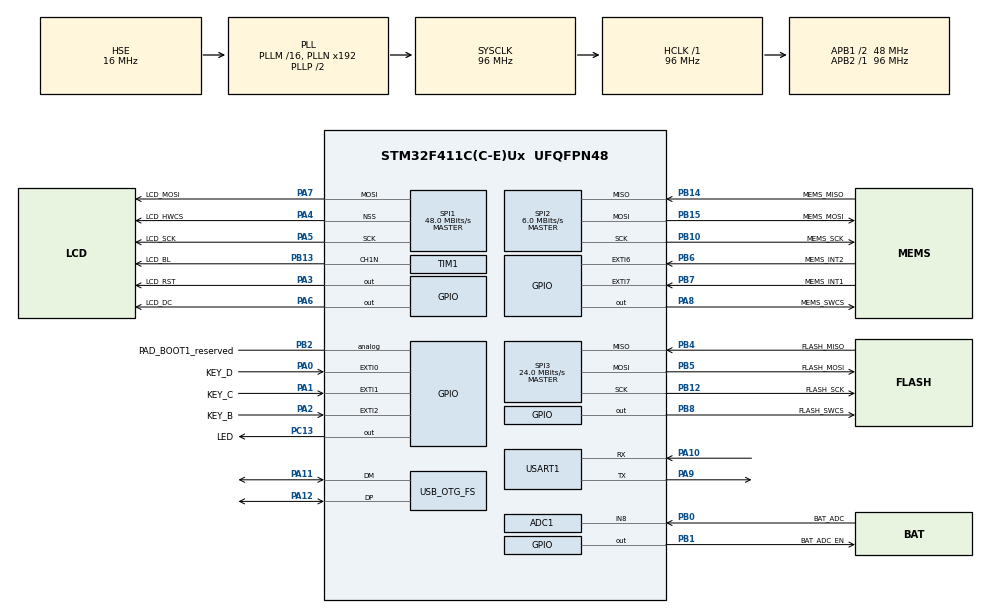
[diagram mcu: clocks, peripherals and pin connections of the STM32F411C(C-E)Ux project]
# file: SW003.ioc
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ADC1.Channel-4\#ChannelRegularConversion=ADC_CHANNEL_VREFINT
ADC1.NbrOfConversionFlag=1
ADC1.Rank-4\#ChannelRegularConversion=1
ADC1.SamplingTime-4\#ChannelRegularConversion=ADC_SAMPLETIME_3CYCLES
ADC1.master=1
Dma.Request0=USART1_TX
Dma.Request1=USART1_RX
Dma.Request2=SPI1_TX
Dma.Request3=SPI2_RX
Dma.Request4=SPI2_TX
Dma.Request5=SPI3_RX
Dma.Request6=SPI3_TX
Dma.SPI1_TX.2.Direction=DMA_MEMORY_TO_PERIPH
Dma.SPI1_TX.2.FIFOMode=DMA_FIFOMODE_DISABLE
Dma.SPI1_TX.2.Instance=DMA2_Stream2
Dma.SPI1_TX.2.MemDataAlignment=DMA_MDATAALIGN_BYTE
Dma.SPI1_TX.2.MemInc=DMA_MINC_ENABLE
Dma.SPI1_TX.2.Mode=DMA_NORMAL
Dma.SPI1_TX.2.PeriphDataAlignment=DMA_PDATAALIGN_BYTE
Dma.SPI1_TX.2.PeriphInc=DMA_PINC_DISABLE
Dma.SPI1_TX.2.Priority=DMA_PRIORITY_LOW
Dma.SPI2_RX.3.Direction=DMA_PERIPH_TO_MEMORY
Dma.SPI2_RX.3.FIFOMode=DMA_FIFOMODE_DISABLE
Dma.SPI2_RX.3.Instance=DMA1_Stream3
Dma.SPI2_RX.3.MemDataAlignment=DMA_MDATAALIGN_BYTE
Dma.SPI2_RX.3.MemInc=DMA_MINC_ENABLE
Dma.SPI2_RX.3.Mode=DMA_NORMAL
Dma.SPI2_RX.3.PeriphDataAlignment=DMA_PDATAALIGN_BYTE
Dma.SPI2_RX.3.PeriphInc=DMA_PINC_DISABLE
Dma.SPI2_RX.3.Priority=DMA_PRIORITY_LOW
Dma.SPI2_TX.4.Direction=DMA_MEMORY_TO_PERIPH
Dma.SPI2_TX.4.FIFOMode=DMA_FIFOMODE_DISABLE
Dma.SPI2_TX.4.Instance=DMA1_Stream4
Dma.SPI2_TX.4.MemDataAlignment=DMA_MDATAALIGN_BYTE
Dma.SPI2_TX.4.MemInc=DMA_MINC_ENABLE
Dma.SPI2_TX.4.Mode=DMA_NORMAL
Dma.SPI2_TX.4.PeriphDataAlignment=DMA_PDATAALIGN_BYTE
Dma.SPI2_TX.4.PeriphInc=DMA_PINC_DISABLE
Dma.SPI2_TX.4.Priority=DMA_PRIORITY_LOW
Dma.SPI3_RX.5.Direction=DMA_PERIPH_TO_MEMORY
Dma.SPI3_RX.5.FIFOMode=DMA_FIFOMODE_DISABLE
Dma.SPI3_RX.5.Instance=DMA1_Stream0
Dma.SPI3_RX.5.MemDataAlignment=DMA_MDATAALIGN_BYTE
Dma.SPI3_RX.5.MemInc=DMA_MINC_ENABLE
Dma.SPI3_RX.5.Mode=DMA_NORMAL
Dma.SPI3_RX.5.PeriphDataAlignment=DMA_PDATAALIGN_BYTE
Dma.SPI3_RX.5.PeriphInc=DMA_PINC_DISABLE
Dma.SPI3_RX.5.Priority=DMA_PRIORITY_LOW
Dma.SPI3_TX.6.Direction=DMA_MEMORY_TO_PERIPH
Dma.SPI3_TX.6.FIFOMode=DMA_FIFOMODE_DISABLE
Dma.SPI3_TX.6.Instance=DMA1_Stream5
Dma.SPI3_TX.6.MemDataAlignment=DMA_MDATAALIGN_BYTE
Dma.SPI3_TX.6.MemInc=DMA_MINC_ENABLE
Dma.SPI3_TX.6.Mode=DMA_NORMAL
Dma.SPI3_TX.6.PeriphDataAlignment=DMA_PDATAALIGN_BYTE
Dma.SPI3_TX.6.PeriphInc=DMA_PINC_DISABLE
Dma.SPI3_TX.6.Priority=DMA_PRIORITY_LOW
Dma.USART1_RX.1.Direction=DMA_PERIPH_TO_MEMORY
Dma.USART1_RX.1.FIFOMode=DMA_FIFOMODE_DISABLE
Dma.USART1_RX.1.Instance=DMA2_Stream5
Dma.USART1_RX.1.MemDataAlignment=DMA_MDATAALIGN_BYTE
Dma.USART1_RX.1.MemInc=DMA_MINC_ENABLE
Dma.USART1_RX.1.Mode=DMA_NORMAL
Dma.USART1_RX.1.PeriphDataAlignment=DMA_PDATAALIGN_BYTE
Dma.USART1_RX.1.PeriphInc=DMA_PINC_DISABLE
Dma.USART1_RX.1.Priority=DMA_PRIORITY_LOW
Dma.USART1_TX.0.Direction=DMA_MEMORY_TO_PERIPH
Dma.USART1_TX.0.FIFOMode=DMA_FIFOMODE_DISABLE
Dma.USART1_TX.0.Instance=DMA2_Stream7
Dma.USART1_TX.0.MemDataAlignment=DMA_MDATAALIGN_BYTE
Dma.USART1_TX.0.MemInc=DMA_MINC_ENABLE
Dma.USART1_TX.0.Mode=DMA_NORMAL
Dma.USART1_TX.0.PeriphDataAlignment=DMA_PDATAALIGN_BYTE
Dma.USART1_TX.0.PeriphInc=DMA_PINC_DISABLE
Dma.USART1_TX.0.Priority=DMA_PRIORITY_LOW
FATFS._CODE_PAGE=850
FATFS._FS_EXFAT=0
FATFS._FS_REENTRANT=0
FATFS._MAX_SS=4096
FATFS._MIN_SS=4096
FATFS._USE_LFN=1
FREERTOS.CountingSemaphores01=Sem_button_scan,2,Dynamic,NULL,0;pclk_Sem,6,Dynamic,NULL,6
FREERTOS.HEAP_NUMBER=4
FREERTOS.Queues01=swEventQueue,5,int64_t,0,Dynamic,NULL,NULL;memsEventQueue,5,int64_t,0,Dynamic,NULL,NULL;panelEventQueue,5,int64_t,0,Dynamic,NULL,NULL;cmdEventQueue,5,int64_t,0,Dynamic,NULL,NULL;keyboardEventQueue,5,int64_t,0,Dynamic,NULL,NULL
FREERTOS.Tasks01=defaultTask,24,512,StartDefaultTask,Default,NULL,Dynamic,NULL,NULL;cmdTask,24,512,StartCmdTask,Default,NULL,Dynamic,NULL,NULL;PanelTask,16,1024,StartPanelTask,Default,NULL,Dynamic,NULL,NULL;MEMSTask,32,512,StartMEMSTask,Default,NULL,Dynamic,NULL,NULL;keyboardTask,16,512,StartKeyboardTask,Default,NULL,Dynamic,NULL,NULL
FREERTOS.Timers01=TimeoutTimer,TimeoutTimerCallback,osTimerPeriodic,Default,NULL,Dynamic,NULL
FREERTOS.configCHECK_FOR_STACK_OVERFLOW=1
FREERTOS.configENABLE_FPU=1
FREERTOS.configGENERATE_RUN_TIME_STATS=1
FREERTOS.configTOTAL_HEAP_SIZE=0x10000
FREERTOS.configUSE_IDLE_HOOK=0
FREERTOS.configUSE_NEWLIB_REENTRANT=1
FREERTOS.configUSE_STATS_FORMATTING_FUNCTIONS=1
FREERTOS.configUSE_TICKLESS_IDLE=2
FREERTOS.configUSE_TICK_HOOK=1
IWDG.Prescaler=IWDG_PRESCALER_256
IWDG.Reload=255
Mcu.Family=STM32F4
Mcu.Name=STM32F411C(C-E)Ux
Mcu.Package=UFQFPN48
Mcu.UserConstants=TIM10_1s_per_Tick,2000;BufSize_Serial,256;PCLK2_M,(HAL_RCC_GetPCLK2Freq() / 1000000u);PCLK1_M,(HAL_RCC_GetPCLK1Freq() / 1000000u);HCLK_M,(HAL_RCC_GetHCLKFreq() / 1000000u)
NVIC.DMA1_Stream0_IRQn=true\:1\:0\:true\:false\:true\:false\:false\:true\:true
NVIC.DMA1_Stream3_IRQn=true\:1\:0\:true\:false\:true\:false\:false\:true\:true
NVIC.DMA1_Stream4_IRQn=true\:1\:0\:true\:false\:true\:false\:false\:true\:true
NVIC.DMA1_Stream5_IRQn=true\:1\:0\:true\:false\:true\:false\:false\:true\:true
NVIC.DMA2_Stream2_IRQn=true\:1\:0\:true\:false\:true\:false\:false\:true\:true
NVIC.DMA2_Stream5_IRQn=true\:1\:0\:true\:false\:true\:false\:false\:true\:true
NVIC.DMA2_Stream7_IRQn=true\:1\:0\:true\:false\:true\:false\:false\:true\:true
NVIC.EXTI0_IRQn=true\:6\:0\:true\:false\:true\:false\:true\:true\:true
NVIC.EXTI1_IRQn=true\:6\:0\:true\:false\:true\:false\:true\:true\:true
NVIC.EXTI2_IRQn=true\:6\:0\:true\:false\:true\:false\:true\:true\:true
NVIC.EXTI9_5_IRQn=true\:2\:0\:true\:false\:true\:false\:true\:true\:true
NVIC.OTG_FS_IRQn=true\:7\:0\:true\:false\:true\:false\:false\:true\:true
NVIC.PriorityGroup=NVIC_PRIORITYGROUP_4
NVIC.RTC_WKUP_IRQn=true\:1\:0\:true\:false\:true\:false\:true\:true\:true
NVIC.SPI1_IRQn=true\:3\:0\:true\:false\:true\:false\:true\:true\:true
NVIC.SPI2_IRQn=true\:3\:0\:true\:false\:true\:false\:true\:true\:true
NVIC.SPI3_IRQn=true\:3\:0\:true\:false\:true\:false\:true\:true\:true
NVIC.TIM1_BRK_TIM9_IRQn=true\:14\:0\:true\:false\:true\:false\:true\:true\:true
NVIC.TIM1_TRG_COM_TIM11_IRQn=true\:0\:0\:true\:false\:true\:false\:false\:true\:true
NVIC.TIM1_UP_TIM10_IRQn=true\:7\:0\:true\:false\:true\:true\:true\:true\:true
NVIC.TimeBase=TIM1_TRG_COM_TIM11_IRQn
NVIC.TimeBaseIP=TIM11
NVIC.USART1_IRQn=true\:3\:0\:true\:false\:true\:false\:true\:true\:true
PA0-WKUP.GPIO_Label=KEY_D
PA0-WKUP.GPIO_ModeDefaultEXTI=GPIO_MODE_IT_FALLING
PA0-WKUP.GPIO_PuPd=GPIO_PULLUP
PA0-WKUP.Signal=GPXTI0
PA1.GPIO_Label=KEY_C
PA1.GPIO_ModeDefaultEXTI=GPIO_MODE_IT_FALLING
PA1.GPIO_PuPd=GPIO_PULLUP
PA1.Signal=GPXTI1
PA10.Mode=Asynchronous
PA10.Signal=USART1_RX
PA11.Mode=Device_Only
PA11.Signal=USB_OTG_FS_DM
PA12.Mode=Device_Only
PA12.Signal=USB_OTG_FS_DP
PA13.Mode=Serial_Wire
PA13.Signal=SYS_JTMS-SWDIO
PA14.Mode=Serial_Wire
PA14.Signal=SYS_JTCK-SWCLK
PA15.Signal=SYS_JTDI
PA2.GPIO_Label=KEY_B
PA2.GPIO_ModeDefaultEXTI=GPIO_MODE_IT_FALLING
PA2.GPIO_PuPd=GPIO_PULLUP
PA2.Signal=GPXTI2
PA3.GPIO_Label=LCD_RST
PA3.Signal=GPIO_Output
PA4.GPIO_Label=LCD_HWCS
PA4.Mode=NSS_Signal_Hard_Output
PA4.Signal=SPI1_NSS
PA5.GPIO_Label=LCD_SCK
PA5.Mode=TX_Only_Simplex_Unidirect_Master
PA5.Signal=SPI1_SCK
PA6.GPIO_Label=LCD_DC
PA6.GPIO_Speed=GPIO_SPEED_FREQ_VERY_HIGH
PA6.Signal=GPIO_Output
PA7.GPIO_Label=LCD_MOSI
PA7.Mode=TX_Only_Simplex_Unidirect_Master
PA7.Signal=SPI1_MOSI
PA8.GPIO_Label=MEMS_SWCS
PA8.GPIO_Speed=GPIO_SPEED_FREQ_VERY_HIGH
PA8.PinState=GPIO_PIN_SET
PA8.Signal=GPIO_Output
PA9.Mode=Asynchronous
PA9.Signal=USART1_TX
PB0.GPIO_Label=BAT_ADC
PB0.Signal=ADCx_IN8
PB1.GPIO_Label=BAT_ADC_EN
PB1.Signal=GPIO_Output
PB10.GPIO_Label=MEMS_SCK
PB10.Mode=Full_Duplex_Master
PB10.Signal=SPI2_SCK
PB12.GPIO_Label=FLASH_SCK
PB12.Mode=Full_Duplex_Master
PB12.Signal=SPI3_SCK
PB13.GPIO_Label=LCD_BL
PB13.GPIO_Speed=GPIO_SPEED_FREQ_VERY_HIGH
PB13.Mode=PWM Generation1 CH1N
PB13.Signal=TIM1_CH1N
PB14.GPIO_Label=MEMS_MISO
PB14.Mode=Full_Duplex_Master
PB14.Signal=SPI2_MISO
PB15.GPIO_Label=MEMS_MOSI
PB15.Mode=Full_Duplex_Master
PB15.Signal=SPI2_MOSI
PB2.GPIO_Label=PAD_BOOT1_reserved
PB2.Signal=GPIO_Analog
PB3.Signal=SYS_JTDO-SWO
PB4.GPIO_Label=FLASH_MISO
PB4.Mode=Full_Duplex_Master
PB4.Signal=SPI3_MISO
PB5.GPIO_Label=FLASH_MOSI
PB5.Mode=Full_Duplex_Master
PB5.Signal=SPI3_MOSI
PB6.GPIO_Label=MEMS_INT2
PB6.GPIO_ModeDefaultEXTI=GPIO_MODE_IT_RISING
PB6.Signal=GPXTI6
PB7.GPIO_Label=MEMS_INT1
PB7.Signal=GPXTI7
PB8.GPIO_Label=FLASH_SWCS
PB8.GPIO_Speed=GPIO_SPEED_FREQ_VERY_HIGH
PB8.PinState=GPIO_PIN_SET
PB8.Signal=GPIO_Output
PC13-ANTI_TAMP.GPIO_Label=LED
PC13-ANTI_TAMP.PinState=GPIO_PIN_SET
PC13-ANTI_TAMP.Signal=GPIO_Output
PH0\ -\ OSC_IN.Mode=HSE-External-Oscillator
PH0\ -\ OSC_IN.Signal=RCC_OSC_IN
PH1\ -\ OSC_OUT.Mode=HSE-External-Oscillator
PH1\ -\ OSC_OUT.Signal=RCC_OSC_OUT
ProjectManager.HeapSize=0x0
ProjectManager.StackSize=0x2000
ProjectManager.TargetToolchain=STM32CubeIDE
RCC.48MHZClocksFreq_Value=48000000
RCC.AHBFreq_Value=96000000
RCC.APB1CLKDivider=RCC_HCLK_DIV2
RCC.APB1Freq_Value=48000000
RCC.APB1TimFreq_Value=96000000
RCC.APB2Freq_Value=96000000
RCC.APB2TimFreq_Value=96000000
RCC.CortexFreq_Value=96000000
RCC.HCLKFreq_Value=96000000
RCC.HSE_VALUE=16000000
RCC.HSI_VALUE=16000000
RCC.LSE_VALUE=32768
RCC.RCC_RTC_Clock_Source=RCC_RTCCLKSOURCE_HSE_DIV16
RCC.RCC_RTC_Clock_SourceVirtual=RCC_RTCCLKSOURCE_LSE
RCC.RCC_RTC_Clock_Source_FROM_HSE=RCC_RTCCLKSOURCE_HSE_DIV16
RCC.SYSCLKFreq_VALUE=96000000
RCC.SYSCLKSource=RCC_SYSCLKSOURCE_PLLCLK
RCC.VCOOutputFreq_Value=192000000
RTC.AsynchPrediv=(100-1)
RTC.Format=RTC_FORMAT_BCD
RTC.HourFormat=RTC_HOURFORMAT_12
RTC.Hours=3
RTC.Minutes=30
RTC.Seconds=45
RTC.StoreOperation=RTC_STOREOPERATION_RESET
RTC.SynchPrediv=(10000-1)
RTC.WakeUpCounter=65535
RTC.Year=24
SH.ADCx_IN8.0=ADC1_IN8,IN8
SPI1.BaudRatePrescaler=SPI_BAUDRATEPRESCALER_2
SPI1.CalculateBaudRate=48.0 MBits/s
SPI1.DataSize=SPI_DATASIZE_8BIT
SPI1.Direction=SPI_DIRECTION_2LINES
SPI1.Mode=SPI_MODE_MASTER
SPI1.VirtualNSS=VM_NSSHARD
SPI1.VirtualType=VM_MASTER
SPI2.BaudRatePrescaler=SPI_BAUDRATEPRESCALER_8
SPI2.CalculateBaudRate=6.0 MBits/s
SPI2.Direction=SPI_DIRECTION_2LINES
SPI2.Mode=SPI_MODE_MASTER
SPI2.VirtualType=VM_MASTER
SPI3.BaudRatePrescaler=SPI_BAUDRATEPRESCALER_2
SPI3.CalculateBaudRate=24.0 MBits/s
SPI3.Direction=SPI_DIRECTION_2LINES
SPI3.Mode=SPI_MODE_MASTER
SPI3.VirtualType=VM_MASTER
TIM1.Channel-PWM\ Generation1\ CH1N=TIM_CHANNEL_1
TIM1.OCNPolarity_1=TIM_OCNPOLARITY_HIGH
TIM1.Period=100-1
TIM1.Prescaler=(PCLK2_M*10)-1
USART1.VirtualMode=VM_ASYNC
USB_DEVICE.CLASS_NAME_FS=MSC
USB_DEVICE.MSC_MEDIA_PACKET=4096
USB_DEVICE.USBD_MAX_STR_DESC_SIZ=512
USB_DEVICE.VirtualMode=Msc
USB_DEVICE.VirtualModeFS=Msc_FS
USB_OTG_FS.VirtualMode=Device_Only
USB_OTG_FS.low_power_enable=DISABLE
VP_ADC1_Vref_Input.Mode=IN-Vrefint
VP_FATFS_VS_Generic.Mode=User_defined
VP_FREERTOS_VS_CMSIS_V2.Mode=CMSIS_V2
VP_IWDG_VS_IWDG.Mode=IWDG_Activate
VP_RTC_VS_RTC_Activate.Mode=RTC_Enabled
VP_RTC_VS_RTC_Calendar.Mode=RTC_Calendar
VP_RTC_VS_RTC_WakeUp_intern.Mode=WakeUp
VP_SYS_VS_tim11.Mode=TIM11
VP_USB_DEVICE_VS_USB_DEVICE_MSC_FS.Mode=MSC_FS
board=custom

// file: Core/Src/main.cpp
/* USER CODE BEGIN Header */
/**
  ******************************************************************************
  * @file           : main.c
  * @brief          : Main program body
  ******************************************************************************
  * @attention
  *
  * Copyright (c) 2025 STMicroelectronics.
  * All rights reserved.
  *
  * This software is licensed under terms that can be found in the LICENSE file
  * in the root directory of this software component.
  * If no LICENSE file comes with this software, it is provided AS-IS.
  *
  ******************************************************************************
  */
/* USER CODE END Header */
#include "main.h"
#include "cmsis_os.h"
#include "adc.h"
#include "dma.h"
#include "fatfs.h"
#include "iwdg.h"
#include "rtc.h"
#include "spi.h"
#include "tim.h"
#include "usart.h"
#include "usb_device.h"
#include "gpio.h"

void SystemClock_Config(void);
void MX_FREERTOS_Init(void);

/* USER CODE BEGIN 0 */
#define PROG_ADDRESS_START 0x0800c000
/* USER CODE END 0 */

int main(void)
{

  /* USER CODE BEGIN 1 */
  SCB->VTOR = (uint32_t) PROG_ADDRESS_START;
  /* USER CODE END 1 */

  /* MCU Configuration--------------------------------------------------------*/

  /* Reset of all peripherals, Initializes the Flash interface and the Systick. */
  HAL_Init();

  /* Configure the system clock */
  SystemClock_Config();

  /* Initialize all configured peripherals */
  MX_GPIO_Init();
  MX_DMA_Init();
  MX_USART1_UART_Init();
  MX_RTC_Init();
  MX_SPI1_Init();
  MX_SPI2_Init();
  MX_TIM1_Init();
  MX_FATFS_Init();
  MX_ADC1_Init();
  MX_SPI3_Init();
  MX_IWDG_Init();

  /* Init scheduler */
  osKernelInitialize();

  /* Call init function for freertos objects (in cmsis_os2.c) */
  MX_FREERTOS_Init();

  /* Start scheduler */
  osKernelStart();

  /* We should never get here as control is now taken by the scheduler */

  /* Infinite loop */
  while (1)
  {

  }
}

void SystemClock_Config(void)
{
  RCC_OscInitTypeDef RCC_OscInitStruct = {0};
  RCC_ClkInitTypeDef RCC_ClkInitStruct = {0};

  /** Configure the main internal regulator output voltage
  */
  __HAL_RCC_PWR_CLK_ENABLE();
  __HAL_PWR_VOLTAGESCALING_CONFIG(PWR_REGULATOR_VOLTAGE_SCALE1);

  /** Initializes the RCC Oscillators according to the specified parameters
  * in the RCC_OscInitTypeDef structure.
  */
  RCC_OscInitStruct.OscillatorType = RCC_OSCILLATORTYPE_LSI|RCC_OSCILLATORTYPE_HSE;
  RCC_OscInitStruct.HSEState = RCC_HSE_ON;
  RCC_OscInitStruct.LSIState = RCC_LSI_ON;
  RCC_OscInitStruct.PLL.PLLState = RCC_PLL_ON;
  RCC_OscInitStruct.PLL.PLLSource = RCC_PLLSOURCE_HSE;
  RCC_OscInitStruct.PLL.PLLM = 16;
  RCC_OscInitStruct.PLL.PLLN = 192;
  RCC_OscInitStruct.PLL.PLLP = RCC_PLLP_DIV2;
  RCC_OscInitStruct.PLL.PLLQ = 4;
  if (HAL_RCC_OscConfig(&RCC_OscInitStruct) != HAL_OK)
  {
    Error_Handler();
  }

  /** Initializes the CPU, AHB and APB buses clocks
  */
  RCC_ClkInitStruct.ClockType = RCC_CLOCKTYPE_HCLK|RCC_CLOCKTYPE_SYSCLK
                              |RCC_CLOCKTYPE_PCLK1|RCC_CLOCKTYPE_PCLK2;
  RCC_ClkInitStruct.SYSCLKSource = RCC_SYSCLKSOURCE_PLLCLK;
  RCC_ClkInitStruct.AHBCLKDivider = RCC_SYSCLK_DIV1;
  RCC_ClkInitStruct.APB1CLKDivider = RCC_HCLK_DIV2;
  RCC_ClkInitStruct.APB2CLKDivider = RCC_HCLK_DIV1;

  if (HAL_RCC_ClockConfig(&RCC_ClkInitStruct, FLASH_LATENCY_3) != HAL_OK)
  {
    Error_Handler();
  }
}

/* USER CODE BEGIN 4 */
/*
 * The following blocked code is used for minimum system debugging. Its function is to use the internal clock.
 * If your application also uses the RTC, please ensure that the clock source used by the RTC is the internal low-speed clock.
 * Specifically, please search for the keyword `PeriphClkInitStruct.RTCClockSelection = RCC_RTCCLKSOURCE_`.
 */
// void SystemClock_Config(void)
// {
//   // ...

//   RCC_OscInitStruct.OscillatorType = RCC_OSCILLATORTYPE_HSI|RCC_OSCILLATORTYPE_LSI;
//   RCC_OscInitStruct.HSIState = RCC_HSI_ON;
//   RCC_OscInitStruct.HSICalibrationValue = RCC_HSICALIBRATION_DEFAULT;
//   RCC_OscInitStruct.LSIState = RCC_LSI_ON;
//   RCC_OscInitStruct.PLL.PLLState = RCC_PLL_ON;
//   RCC_OscInitStruct.PLL.PLLSource = RCC_PLLSOURCE_HSI;
//   RCC_OscInitStruct.PLL.PLLM = 16;

//   // ...
// }

void SystemClock_set_HCLK_Freq(uint32_t freq) {
    /**
     * 断言，现在SYSCLK源是 Main PLL 并且 Main PLL 的时钟源是 HSE 并且 Main PLL 输出96MHz 。
     *
     * 由于USB依赖 Main PLL，所以必须保持 Main PLL 工作。
     */
    if (HAL_RCC_GetHCLKFreq() == freq) {
    } else if (96'000'000u == freq) {
        RCC_ClkInitTypeDef RCC_ClkInitStruct = {0};
        RCC_ClkInitStruct.ClockType          = RCC_CLOCKTYPE_HCLK | RCC_CLOCKTYPE_SYSCLK | RCC_CLOCKTYPE_PCLK1 | RCC_CLOCKTYPE_PCLK2;
        RCC_ClkInitStruct.SYSCLKSource       = RCC_SYSCLKSOURCE_PLLCLK;
        RCC_ClkInitStruct.AHBCLKDivider      = RCC_SYSCLK_DIV1;
        RCC_ClkInitStruct.APB1CLKDivider     = RCC_HCLK_DIV2;
        RCC_ClkInitStruct.APB2CLKDivider     = RCC_HCLK_DIV1;
        if (HAL_RCC_ClockConfig(&RCC_ClkInitStruct, FLASH_LATENCY_3) != HAL_OK) {
            Error_Handler();
        }
    } else if (48'000'000u == freq) {
        RCC_ClkInitTypeDef RCC_ClkInitStruct = {0};
        RCC_ClkInitStruct.ClockType          = RCC_CLOCKTYPE_HCLK | RCC_CLOCKTYPE_SYSCLK | RCC_CLOCKTYPE_PCLK1 | RCC_CLOCKTYPE_PCLK2;
        RCC_ClkInitStruct.SYSCLKSource       = RCC_SYSCLKSOURCE_PLLCLK;
        RCC_ClkInitStruct.AHBCLKDivider      = RCC_SYSCLK_DIV2;
        RCC_ClkInitStruct.APB1CLKDivider     = RCC_HCLK_DIV1;
        RCC_ClkInitStruct.APB2CLKDivider     = RCC_HCLK_DIV1;
        if (HAL_RCC_ClockConfig(&RCC_ClkInitStruct, FLASH_LATENCY_1) != HAL_OK) {
            Error_Handler();
        }
    } else if (24'000'000u == freq) {
        RCC_ClkInitTypeDef RCC_ClkInitStruct = {0};
        RCC_ClkInitStruct.ClockType          = RCC_CLOCKTYPE_HCLK | RCC_CLOCKTYPE_SYSCLK | RCC_CLOCKTYPE_PCLK1 | RCC_CLOCKTYPE_PCLK2;
        RCC_ClkInitStruct.SYSCLKSource       = RCC_SYSCLKSOURCE_PLLCLK;
        RCC_ClkInitStruct.AHBCLKDivider      = RCC_SYSCLK_DIV4;
        RCC_ClkInitStruct.APB1CLKDivider     = RCC_HCLK_DIV1;
        RCC_ClkInitStruct.APB2CLKDivider     = RCC_HCLK_DIV1;
        if (HAL_RCC_ClockConfig(&RCC_ClkInitStruct, FLASH_LATENCY_0) != HAL_OK) {
            Error_Handler();
        }
    } else {
    }
}

/* USER CODE END 4 */

void HAL_TIM_PeriodElapsedCallback(TIM_HandleTypeDef *htim)
{
  if (htim->Instance == TIM11) {
    HAL_IncTick();
  }
  /* USER CODE BEGIN Callback 1 */

  // extern void onUnactiveTimeoutIRQ(void);
  // if (htim->Instance == TIMEOUT_TIMER) {
  //   onUnactiveTimeoutIRQ();
  // }
  /* USER CODE END Callback 1 */
}

void Error_Handler(void)
{
  __disable_irq();
  while (1)
  {
  }
}
